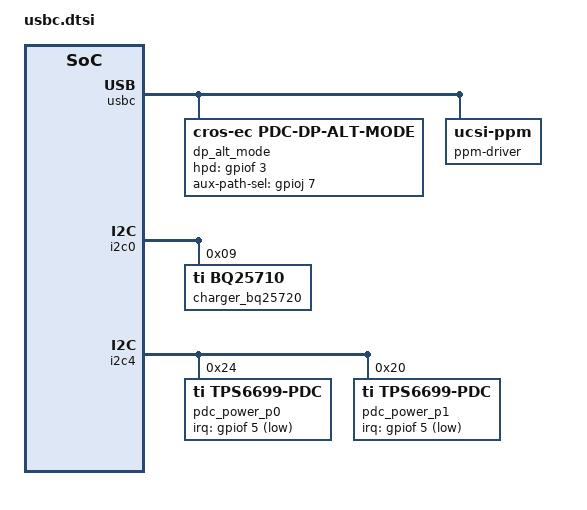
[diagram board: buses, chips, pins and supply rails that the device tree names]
/* Copyright 2026 The ChromiumOS Authors
 * Use of this source code is governed by a BSD-style license that can be
 * found in the LICENSE file.
 */

#include <usbc-policy.dtsi>

/ {
	usbc {
		#address-cells = <1>;
		#size-cells = <0>;

		usbc_port0: port0@0 {
			compatible = "named-usbc-port";
			reg = <0>;
			chg = <&charger_bq25720>;
			pdc = <&pdc_power_p0>;
			policy = <&cros_policy>;
		};

		usbc_port1: port1@1 {
			compatible = "named-usbc-port";
			reg = <1>;
			pdc = <&pdc_power_p1>;
			policy = <&cros_policy>;
		};

		dp_alt_mode: dp-alt-mode {
			compatible = "cros-ec,pdc-dp-alt-mode";
			hpd-gpios = <&gpiof 3 (GPIO_ACTIVE_HIGH | GPIO_VOLTAGE_1P8)>;
			aux-path-sel-gpios = <&gpioj 7 GPIO_ACTIVE_HIGH>;
		};

		ppm-driver {
			compatible = "ucsi-ppm";
		};
	};
};

&i2c0 {
	charger_bq25720: bq25720@9 {
		compatible = "ti,bq25710";
		status = "okay";
		reg = <0x9>;
	};
};

&i2c4 {
	pdc_power_p0: tps6699-pdc@24 {
		compatible = "ti,tps6699-pdc";
		reg = <0x24>;
		irq-gpios = <&gpiof 5 GPIO_ACTIVE_LOW>;
		port-index-on-chip = <2>;
		frs-supported;
		ccd;
	};
	pdc_power_p1: tps6699-pdc@20 {
		compatible = "ti,tps6699-pdc";
		reg = <0x20>;
		irq-gpios = <&gpiof 5 GPIO_ACTIVE_LOW>;
		port-index-on-chip = <1>;
		frs-supported;
		no-fw-update;
	};
};
